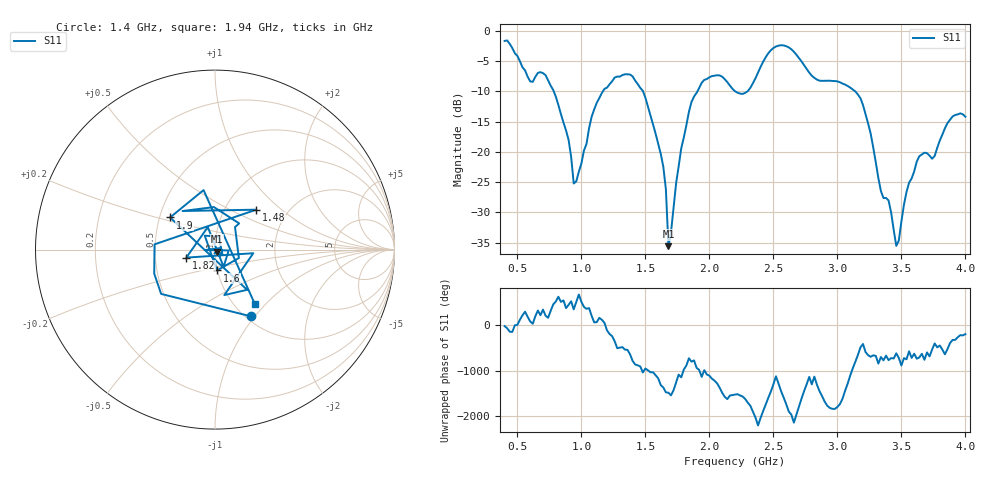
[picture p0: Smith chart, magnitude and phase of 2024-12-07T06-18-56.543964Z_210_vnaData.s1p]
!Created with skrf (http://scikit-rf.org).
# Hz S RI R 50.0
!freq ReS11 ImS11
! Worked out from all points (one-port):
!   181 points, 400 MHz to 4 GHz, reference 50 ohm
!   lowest |S11| = -35.6 dB at 1.68 GHz (marker M1), VSWR 1.03, Z = 51.3 - j1.11 ohm
!   |S11| at or under -10 dB: 784.3 MHz to 1.168 GHz (383.2 MHz wide, 39.3 % of centre); 1.482 GHz to 1.906 GHz (424.1 MHz wide, 25 % of centre); 3.14 GHz to end of sweep (the widest 3 of 4)
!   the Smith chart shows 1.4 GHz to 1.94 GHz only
!   S11 on the Smith chart (normalised r, x): 1.4 GHz: 1.05, -0.95; 1.48 GHz: 1.40, +0.69; 1.6 GHz: 0.99, -0.23; 1.82 GHz: 0.72, -0.07; 1.9 GHz: 0.57, +0.22; 1.94 GHz: 1.23, -0.86
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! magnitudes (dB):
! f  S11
! 400 MHz  -1.6
! 600 MHz  -8.3
! 720 MHz  -7.3
! 860 MHz  -15.1
! 940 MHz  -25.2
! 960 MHz  -24.9
! 1.12 GHz  -11.9
! 1.3 GHz  -7.6
! 1.4 GHz  -7.5
! 1.48 GHz  -9.9
! 1.6 GHz  -18.7
! 1.66 GHz  -26.2
! 1.68 GHz  -35.6
! 1.76 GHz  -22.4
! 1.82 GHz  -15.6
! 1.9 GHz  -10.2
! 1.94 GHz  -8.6
! 2.2 GHz  -10.0
! 2.3 GHz  -10.0
! 2.5 GHz  -2.8
! 2.66 GHz  -3.4
! 2.84 GHz  -8.0
! 3.1 GHz  -9.4
! 3.2 GHz  -12.3
! 3.46 GHz  -35.5
! 3.56 GHz  -25.1
! 3.9 GHz  -14.1
! 4 GHz  -14.2
